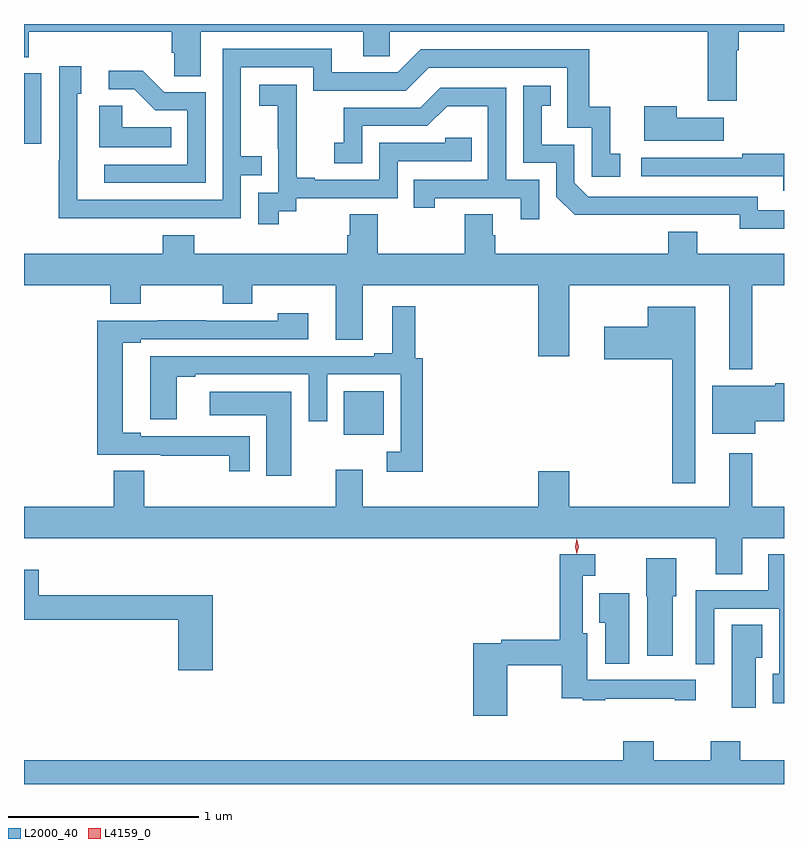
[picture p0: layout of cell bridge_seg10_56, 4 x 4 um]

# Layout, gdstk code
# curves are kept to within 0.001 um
import gdstk
lib = gdstk.Library(unit=1e-6, precision=1e-09)
def R(c, l, rs):  # rectangles x0, y0, x1, y1
    for r in rs: c.add(gdstk.rectangle(r[:2], r[2:], *l))
def P(c, l, *ps):  # polygons
    for p in ps: c.add(gdstk.Polygon(p, *l))
L2000_40 = (2000, 40)
L4159_0 = (4159, 0)

bridge_seg10_56 = lib.new_cell('bridge_seg10_56')
R(bridge_seg10_56, L2000_40, [(847.301,1307.519,847.51,1307.749), (845.617,1309.053,845.709,1309.422)])
P(bridge_seg10_56, L2000_40, [(849.367,1309.544),(849.38,1309.544),(849.38,1309.64),(849.617,1309.64),(849.617,1309.682),(845.617,1309.682),(845.617,1309.507),(845.642,1309.507),(845.642,1309.64),(846.395,1309.64),(846.395,1309.531),(846.408,1309.531),(846.408,1309.408),(846.547,1309.408),(846.547,1309.64),(847.403,1309.64),(847.403,1309.513),(847.542,1309.513),(847.542,1309.64),(849.215,1309.64),(849.215,1309.278),(849.367,1309.278)],
  [(846.263,1308.66),(846.759,1308.66),(846.759,1308.885),(846.869,1308.885),(846.869,1308.986),(846.759,1308.986),(846.759,1309.455),(847.14,1309.455),(847.14,1309.332),(847.626,1309.332),(847.746,1309.452),(848.475,1309.452),(848.475,1309.137),(848.604,1309.137),(848.604,1308.879),(848.755,1308.879),(848.755,1308.999),(848.702,1308.999),(848.702,1309.246),(848.591,1309.246),(848.591,1309.548),(847.704,1309.548),(847.584,1309.428),(847.237,1309.428),(847.237,1309.551),(846.663,1309.551),(846.663,1308.756),(845.898,1308.756),(845.898,1309.314),(845.917,1309.314),(845.917,1309.459),(845.802,1309.459),(845.802,1308.965),(845.8,1308.965),(845.8,1308.659)],
  [(846.573,1309.323),(846.354,1309.323),(846.241,1309.436),(846.063,1309.436),(846.063,1309.338),(846.197,1309.338),(846.308,1309.227),(846.477,1309.227),(846.477,1308.942),(846.039,1308.942),(846.039,1308.846),(846.573,1308.846)],
  [(846.958,1308.697),(847.05,1308.697),(847.05,1308.765),(847.584,1308.765),(847.584,1308.96),(847.973,1308.96),(847.973,1309.083),(847.833,1309.083),(847.833,1309.056),(847.488,1309.056),(847.488,1308.861),(847.147,1308.861),(847.147,1308.874),(847.052,1308.874),(847.052,1309.157),(847.053,1309.157),(847.053,1309.363),(846.855,1309.363),(846.855,1309.253),(846.953,1309.253),(846.953,1309.025),(846.954,1309.025),(846.954,1308.795),(846.849,1308.795),(846.849,1308.627),(846.958,1308.627)],
  [(849.617,1308.702),(849.48,1308.702),(849.48,1308.774),(848.586,1308.774),(848.514,1308.846),(848.514,1309.047),(848.341,1309.047),(848.341,1309.251),(848.39,1309.251),(848.39,1309.357),(848.244,1309.357),(848.244,1308.951),(848.418,1308.951),(848.418,1308.774),(848.516,1308.677),(849.384,1308.678),(849.384,1308.605),(849.617,1308.605)],
  [(848.328,1308.861),(848.154,1308.861),(848.154,1309.347),(847.808,1309.347),(847.703,1309.242),(847.3,1309.242),(847.3,1309.057),(847.251,1309.057),(847.251,1308.948),(847.398,1308.948),(847.398,1309.146),(847.74,1309.146),(847.844,1309.25),(848.058,1309.25),(848.058,1308.861),(847.669,1308.861),(847.669,1308.714),(847.78,1308.714),(847.78,1308.765),(848.231,1308.765),(848.231,1308.654),(848.328,1308.654)],
  [(846.392,1309.138),(846.135,1309.138),(846.135,1309.253),(846.014,1309.253),(846.014,1309.034),(846.392,1309.034)],
  [(849.301,1309.189),(849.053,1309.189),(849.053,1309.249),(848.882,1309.249),(848.882,1309.067),(849.301,1309.067)],
  [(849.617,1308.998),(849.397,1308.998),(849.397,1308.978),(848.865,1308.978),(848.865,1308.882),(849.613,1308.882),(849.613,1308.804),(849.617,1308.804)],
  [(849.451,1308.308),(849.617,1308.308),(849.617,1308.472),(849.16,1308.472),(849.16,1308.589),(849.008,1308.589),(849.008,1308.472),(848.096,1308.472),(848.096,1308.57),(848.083,1308.57),(848.083,1308.68),(847.936,1308.68),(847.936,1308.472),(847.479,1308.472),(847.479,1308.68),(847.331,1308.68),(847.331,1308.57),(847.319,1308.57),(847.319,1308.472),(846.512,1308.472),(846.512,1308.571),(846.347,1308.571),(846.347,1308.472),(845.617,1308.472),(845.617,1308.308),(846.071,1308.308),(846.071,1308.209),(846.231,1308.209),(846.231,1308.308),(846.664,1308.308),(846.664,1308.209),(846.819,1308.209),(846.819,1308.308),(847.259,1308.308),(847.259,1308.019),(847.399,1308.019),(847.399,1308.308),(848.324,1308.308),(848.324,1307.934),(848.488,1307.934),(848.488,1308.308),(849.329,1308.308),(849.329,1307.864),(849.451,1307.864)],
  [(847.715,1307.922),(847.675,1307.922),(847.675,1308.196),(847.556,1308.196),(847.556,1307.949),(847.46,1307.949),(847.46,1307.934),(846.281,1307.934),(846.281,1307.601),(846.421,1307.601),(846.421,1307.826),(846.517,1307.826),(846.517,1307.838),(847.116,1307.838),(847.116,1307.592),(847.212,1307.592),(847.212,1307.838),(847.599,1307.838),(847.599,1307.43),(847.527,1307.43),(847.527,1307.325),(847.715,1307.325)],
  [(849.151,1308.193),(848.9,1308.193),(848.9,1308.088),(848.67,1308.088),(848.67,1307.918),(849.03,1307.918),(849.03,1307.265),(849.151,1307.265)],
  [(846.804,1307.511),(846.232,1307.511),(846.232,1307.531),(846.136,1307.531),(846.136,1308.004),(846.232,1308.004),(846.232,1308.024),(847.114,1308.024),(847.114,1308.16),(846.953,1308.16),(846.953,1308.12),(846.575,1308.12),(846.575,1308.122),(846.319,1308.122),(846.319,1308.12),(846.002,1308.12),(846.002,1307.415),(846.337,1307.415),(846.337,1307.41),(846.696,1307.41),(846.696,1307.328),(846.804,1307.328)],
  [(849.466,1307.591),(849.617,1307.591),(849.617,1307.792),(849.572,1307.792),(849.572,1307.779),(849.239,1307.779),(849.239,1307.525),(849.466,1307.525)],
  [(847.024,1307.746),(846.594,1307.746),(846.594,1307.624),(846.893,1307.624),(846.893,1307.304),(847.024,1307.304)],
  [(849.397,1306.976),(849.617,1306.976),(849.617,1307.14),(849.451,1307.14),(849.451,1307.422),(849.329,1307.422),(849.329,1307.14),(848.488,1307.14),(848.488,1307.329),(848.324,1307.329),(848.324,1307.14),(847.399,1307.14),(847.399,1307.335),(847.259,1307.335),(847.259,1307.14),(846.249,1307.14),(846.249,1307.33),(846.089,1307.33),(846.089,1307.14),(845.617,1307.14),(845.617,1306.976),(849.257,1306.976),(849.257,1306.786),(849.397,1306.786)],
  [(849.617,1306.891),(849.533,1306.891),(849.533,1306.701),(849.153,1306.701),(849.153,1306.311),(849.249,1306.311),(849.249,1306.605),(849.591,1306.605),(849.591,1306.263),(849.557,1306.263),(849.557,1306.107),(849.617,1306.107)],
  [(848.16,1306.306),(848.446,1306.306),(848.446,1306.134),(848.557,1306.134),(848.557,1306.122),(848.677,1306.122),(848.677,1306.132),(849.041,1306.132),(849.041,1306.122),(849.153,1306.122),(849.153,1306.23),(848.581,1306.23),(848.581,1306.476),(848.557,1306.476),(848.557,1306.778),(848.623,1306.778),(848.623,1306.891),(848.436,1306.891),(848.436,1306.442),(848.128,1306.442),(848.128,1306.422),(847.982,1306.422),(847.982,1306.041),(848.16,1306.041)],
  [(849.031,1306.671),(849.049,1306.671),(849.049,1306.87),(848.891,1306.87),(848.891,1306.671),(848.897,1306.671),(848.897,1306.356),(849.031,1306.356)],
  [(846.611,1306.675),(845.695,1306.675),(845.695,1306.81),(845.617,1306.81),(845.617,1306.546),(846.428,1306.546),(846.428,1306.281),(846.611,1306.281)],
  [(848.803,1306.687),(848.645,1306.687),(848.645,1306.531),(848.675,1306.531),(848.675,1306.315),(848.803,1306.315)],
  [(849.469,1306.346),(849.502,1306.346),(849.502,1306.52),(849.341,1306.52),(849.341,1306.083),(849.469,1306.083)],
  [(849.617,1305.808),(849.387,1305.808),(849.387,1305.907),(849.232,1305.907),(849.232,1305.808),(848.931,1305.808),(848.931,1305.907),(848.771,1305.907),(848.771,1305.808),(845.617,1305.808),(845.617,1305.682),(849.617,1305.682)])
P(bridge_seg10_56, L4159_0, [(848.527,1306.892),(848.527,1306.893),(848.517,1306.932),(848.526,1306.972),(848.526,1306.972),(848.526,1306.972),(848.537,1306.932),(848.527,1306.893)])

lib.write_gds('bridge_seg10_56.gds')
